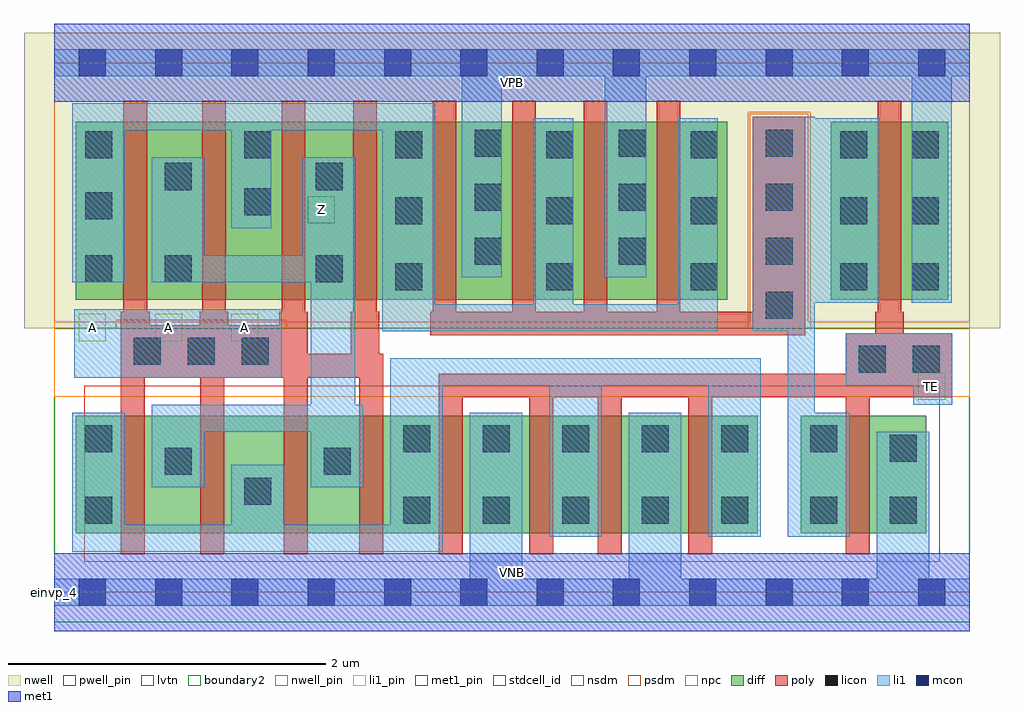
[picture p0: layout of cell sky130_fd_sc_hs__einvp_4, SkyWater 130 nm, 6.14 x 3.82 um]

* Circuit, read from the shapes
.subckt sky130_fd_sc_hs__einvp_4 A TE VGND VNB VPB VPWR Z
XM1 Z A n1 VNB sky130_fd_pr__nfet_01v8_lvt w=0.74 l=0.15 m=4
XM2 VGND TE n1 VNB sky130_fd_pr__nfet_01v8_lvt w=0.74 l=0.15 m=4
XM3 VGND TE n2 VNB sky130_fd_pr__nfet_01v8_lvt w=0.74 l=0.15
XM4 Z A n3 VPB sky130_fd_pr__pfet_01v8 w=1.12 l=0.15 m=4
XM5 VPWR n2 n3 VPB sky130_fd_pr__pfet_01v8 w=1.12 l=0.15 m=4
XM6 VPWR TE n2 VPB sky130_fd_pr__pfet_01v8 w=1.12 l=0.15
.ends

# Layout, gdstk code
import gdstk
lib = gdstk.Library(unit=1e-6, precision=1e-09)
def R(c, l, rs):  # rectangles x0, y0, x1, y1
    for r in rs: c.add(gdstk.rectangle(r[:2], r[2:], *l))
def A(c, l, x, y, w, h, nx, ny, dx, dy):  # array of equal rectangles
    R(c, l, [(x+i*dx, y+j*dy, x+i*dx+w, y+j*dy+h) for i in range(nx) for j in range(ny)])
def P(c, l, *ps):  # polygons
    for p in ps: c.add(gdstk.Polygon(p, *l))
nwell_pin = (64, 16)
nwell = (64, 20)
diff = (65, 20)
poly = (66, 20)
licon = (66, 44)
li1_pin = (67, 16)
li1 = (67, 20)
mcon = (67, 44)
met1_pin = (68, 16)
met1 = (68, 20)
stdcell_id = (81, 4)
nsdm = (93, 44)
psdm = (94, 20)
npc = (95, 20)
pwell_pin = (122, 16)
lvtn = (125, 44)
boundary2 = (236, 0)

sky130_fd_sc_hs__einvp_4 = lib.new_cell('sky130_fd_sc_hs__einvp_4')
R(sky130_fd_sc_hs__einvp_4, nwell_pin, [(0,3.085,5.76,3.33)])
R(sky130_fd_sc_hs__einvp_4, nwell, [(-0.19,1.66,5.95,3.52)])
R(sky130_fd_sc_hs__einvp_4, diff, [(0.135,0.37,4.425,1.11), (4.695,0.37,5.485,1.11), (0.135,1.84,4.235,2.96), (4.885,1.84,5.625,2.96)])
P(sky130_fd_sc_hs__einvp_4, poly, [(2.07,1.5),(2.045,1.5),(2.045,1.765),(2.03,1.765),(2.03,3.09),(1.88,3.09),(1.88,1.765),(1.865,1.765),(1.865,1.5),(1.595,1.5),(1.595,1.765),(1.58,1.765),(1.58,3.09),(1.43,3.09),(1.43,1.765),(1.415,1.765),(1.415,1.68),(1.095,1.68),(1.095,1.765),(1.08,1.765),(1.08,3.09),(0.93,3.09),(0.93,1.765),(0.915,1.765),(0.915,1.68),(0.6,1.68),(0.6,1.765),(0.585,1.765),(0.585,3.09),(0.435,3.09),(0.435,1.765),(0.42,1.765),(0.42,0.24),(0.57,0.24),(0.57,1.35),(0.92,1.35),(0.92,0.24),(1.07,0.24),(1.07,1.35),(1.445,1.35),(1.445,0.24),(1.595,0.24),(1.595,1.35),(1.92,1.35),(1.92,0.24),(2.07,0.24)],
  [(4.725,2.99),(4.395,2.99),(4.395,1.765),(3.94,1.765),(3.94,3.09),(3.79,3.09),(3.79,1.765),(3.48,1.765),(3.48,3.09),(3.33,3.09),(3.33,1.765),(3.03,1.765),(3.03,3.09),(2.88,3.09),(2.88,1.765),(2.53,1.765),(2.53,3.09),(2.38,3.09),(2.38,1.765),(2.365,1.765),(2.365,1.615),(4.725,1.615)],
  [(5.65,1.63),(5.345,1.63),(5.345,1.765),(5.33,1.765),(5.33,3.09),(5.18,3.09),(5.18,1.765),(5.165,1.765),(5.165,1.63),(4.98,1.63),(4.98,1.375),(2.42,1.375),(2.42,0.24),(2.57,0.24),(2.57,1.225),(2.99,1.225),(2.99,0.24),(3.14,0.24),(3.14,1.225),(3.42,1.225),(3.42,0.24),(3.57,0.24),(3.57,1.225),(3.99,1.225),(3.99,0.24),(4.14,0.24),(4.14,1.225),(4.98,1.225),(4.98,0.24),(5.13,0.24),(5.13,1.225),(5.65,1.225)])
A(sky130_fd_sc_hs__einvp_4, licon, 2.195, 0.43, 0.17, 0.17, 5, 2, 0.5, 0.45)
A(sky130_fd_sc_hs__einvp_4, licon, 0.5, 1.43, 0.17, 0.17, 3, 1, 0.34, 0)
A(sky130_fd_sc_hs__einvp_4, licon, 4.475, 1.72, 0.17, 0.17, 1, 4, 0, 0.34)
A(sky130_fd_sc_hs__einvp_4, licon, 4.005, 1.9, 0.17, 0.17, 1, 3, 0, 0.415)
A(sky130_fd_sc_hs__einvp_4, licon, 4.945, 1.9, 0.17, 0.17, 1, 3, 0, 0.415)
A(sky130_fd_sc_hs__einvp_4, licon, 5.395, 1.9, 0.17, 0.17, 1, 3, 0, 0.415)
A(sky130_fd_sc_hs__einvp_4, licon, 2.645, 2.06, 0.17, 0.17, 1, 3, 0, 0.34)
A(sky130_fd_sc_hs__einvp_4, licon, 3.55, 2.06, 0.17, 0.17, 1, 3, 0, 0.34)
A(sky130_fd_sc_hs__einvp_4, licon, 1.195, 2.73, 0.17, 0.17, 3, 1, 0.95, 0)
R(sky130_fd_sc_hs__einvp_4, licon, [(0.195,0.43,0.365,0.6), (4.755,0.43,4.925,0.6), (5.255,0.43,5.425,0.6), (1.195,0.55,1.365,0.72), (0.695,0.74,0.865,0.91), (1.695,0.74,1.865,0.91), (5.255,0.82,5.425,0.99), (0.195,0.88,0.365,1.05), (4.755,0.88,4.925,1.05), (5.06,1.38,5.23,1.55), (5.4,1.38,5.57,1.55), (2.145,1.9,2.315,2.07), (3.095,1.9,3.265,2.07), (0.195,1.95,0.365,2.12), (0.695,1.95,0.865,2.12), (1.645,1.95,1.815,2.12), (2.145,2.315,2.315,2.485), (3.095,2.315,3.265,2.485), (0.195,2.345,0.365,2.515), (1.195,2.37,1.365,2.54), (0.695,2.53,0.865,2.7), (1.645,2.53,1.815,2.7), (0.195,2.73,0.365,2.9)])
A(sky130_fd_sc_hs__einvp_4, li1_pin, 0.155, 1.58, 0.17, 0.17, 3, 1, 0.48, 0)
R(sky130_fd_sc_hs__einvp_4, li1_pin, [(5.435,1.21,5.605,1.38), (1.595,2.32,1.765,2.49)])
R(sky130_fd_sc_hs__einvp_4, li1, [(0.125,1.35,1.43,1.78)])
P(sky130_fd_sc_hs__einvp_4, li1, [(0,-0.085),(0,0.085),(2.615,0.085),(2.615,1.13),(2.945,1.13),(2.945,0.085),(3.615,0.085),(3.615,1.13),(3.945,1.13),(3.945,0.085),(5.175,0.085),(5.175,1.01),(5.505,1.01),(5.505,0.085),(5.76,0.085),(5.76,-0.085)],
  [(0,3.245),(0,3.415),(5.76,3.415),(5.76,3.245),(5.645,3.245),(5.645,1.82),(5.395,1.82),(5.395,3.245),(3.725,3.245),(3.725,1.98),(3.465,1.98),(3.465,3.245),(2.815,3.245),(2.815,1.98),(2.565,1.98),(2.565,3.245)],
  [(4.98,1.3),(4.98,1.63),(5.65,1.63),(5.65,1.18),(5.405,1.18),(5.405,1.3)],
  [(1.565,2.12),(1.565,2.735),(1.895,2.735),(1.895,1.18),(1.945,1.18),(1.945,0.66),(1.615,0.66),(1.615,1.01),(0.945,1.01),(0.945,0.66),(0.615,0.66),(0.615,1.18),(1.615,1.18),(1.615,1.95),(0.615,1.95),(0.615,2.735),(0.945,2.735),(0.945,2.12)],
  [(4.785,2.98),(5.195,2.98),(5.195,1.82),(4.785,1.82),(4.785,1.13),(5.005,1.13),(5.005,0.35),(4.615,0.35),(4.615,1.64),(4.395,1.64),(4.395,2.99),(4.785,2.99)],
  [(0.445,0.425),(1.115,0.425),(1.115,0.8),(1.445,0.8),(1.445,0.425),(2.115,0.425),(2.115,1.47),(4.445,1.47),(4.445,0.35),(4.115,0.35),(4.115,1.3),(3.445,1.3),(3.445,0.35),(3.115,0.35),(3.115,1.3),(2.445,1.3),(2.445,0.255),(0.115,0.255),(0.115,1.13),(0.445,1.13)],
  [(2.395,1.81),(3.015,1.81),(3.015,2.98),(3.265,2.98),(3.265,1.81),(3.925,1.81),(3.925,2.98),(4.175,2.98),(4.175,1.64),(2.065,1.64),(2.065,2.905),(1.365,2.905),(1.365,2.29),(1.115,2.29),(1.115,2.905),(0.445,2.905),(0.445,1.95),(0.115,1.95),(0.115,3.075),(2.395,3.075)])
A(sky130_fd_sc_hs__einvp_4, mcon, 0.155, -0.085, 0.17, 0.17, 12, 2, 0.48, 3.33)
R(sky130_fd_sc_hs__einvp_4, met1_pin, [(0,0,5.76,0.245), (0,3.085,5.76,3.33)])
R(sky130_fd_sc_hs__einvp_4, met1, [(0,-0.245,5.76,0.245), (0,3.085,5.76,3.575)])
R(sky130_fd_sc_hs__einvp_4, stdcell_id, [(0,0,5.76,3.33)])
R(sky130_fd_sc_hs__einvp_4, nsdm, [(0,-0.19,5.76,1.66)])
P(sky130_fd_sc_hs__einvp_4, psdm, [(5.76,3.52),(0,3.52),(0,1.66),(0.39,1.66),(0.39,1.71),(1.46,1.71),(1.46,1.66),(4.365,1.66),(4.365,3.02),(4.755,3.02),(4.755,1.66),(5.76,1.66)])
P(sky130_fd_sc_hs__einvp_4, npc, [(5.76,1.7),(4.745,1.7),(4.745,3.01),(4.375,3.01),(4.375,1.7),(0,1.7),(0,1.23),(5.76,1.23)])
R(sky130_fd_sc_hs__einvp_4, pwell_pin, [(0,0,5.76,0.245)])
R(sky130_fd_sc_hs__einvp_4, lvtn, [(0.19,0.19,5.57,1.3)])
R(sky130_fd_sc_hs__einvp_4, boundary2, [(0,0,5.76,3.33)])
sky130_fd_sc_hs__einvp_4.add(gdstk.Label('einvp_4', (0,0), layer=83, texttype=44))
sky130_fd_sc_hs__einvp_4.add(gdstk.Label('VNB', (2.88,0.123), layer=64, texttype=59))
sky130_fd_sc_hs__einvp_4.add(gdstk.Label('VPB', (2.88,3.208), layer=64, texttype=5))
sky130_fd_sc_hs__einvp_4.add(gdstk.Label('VPWR', (2.88,3.208), layer=68, texttype=5))
sky130_fd_sc_hs__einvp_4.add(gdstk.Label('VGND', (2.88,0.123), layer=68, texttype=5))
sky130_fd_sc_hs__einvp_4.add(gdstk.Label('TE', (5.52,1.295), layer=67, texttype=5))
sky130_fd_sc_hs__einvp_4.add(gdstk.Label('Z', (1.68,2.405), layer=67, texttype=5))
sky130_fd_sc_hs__einvp_4.add(gdstk.Label('A', (0.24,1.665), layer=67, texttype=5))
sky130_fd_sc_hs__einvp_4.add(gdstk.Label('A', (0.72,1.665), layer=67, texttype=5))
sky130_fd_sc_hs__einvp_4.add(gdstk.Label('A', (1.2,1.665), layer=67, texttype=5))

lib.write_gds('sky130_fd_sc_hs__einvp_4.gds')
